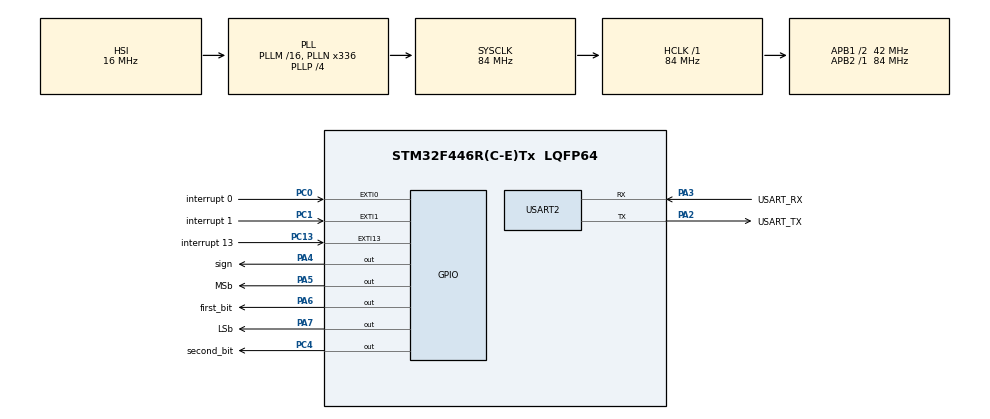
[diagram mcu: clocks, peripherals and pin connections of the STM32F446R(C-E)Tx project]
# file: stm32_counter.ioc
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Mcu.Family=STM32F4
Mcu.Name=STM32F446R(C-E)Tx
Mcu.Package=LQFP64
NVIC.EXTI0_IRQn=true\:0\:0\:false\:false\:true\:true\:true\:true
NVIC.EXTI15_10_IRQn=true\:0\:0\:false\:false\:true\:true\:true\:true
NVIC.EXTI1_IRQn=true\:0\:0\:false\:false\:true\:true\:true\:true
NVIC.PriorityGroup=NVIC_PRIORITYGROUP_0
PA13.GPIO_Label=TMS
PA13.Mode=Serial_Wire
PA13.Signal=SYS_JTMS-SWDIO
PA14.GPIO_Label=TCK
PA14.Mode=Serial_Wire
PA14.Signal=SYS_JTCK-SWCLK
PA2.GPIO_Label=USART_TX
PA2.Mode=Asynchronous
PA2.Signal=USART2_TX
PA3.GPIO_Label=USART_RX
PA3.Mode=Asynchronous
PA3.Signal=USART2_RX
PA4.GPIO_Label=sign
PA4.Signal=GPIO_Output
PA5.GPIO_Label=MSb
PA5.Signal=GPIO_Output
PA6.GPIO_Label=first_bit
PA6.Signal=GPIO_Output
PA7.GPIO_Label=LSb
PA7.Signal=GPIO_Output
PB3.GPIO_Label=SWO
PB3.Signal=SYS_JTDO-SWO
PC0.GPIO_Label=interrupt 0
PC0.Signal=GPXTI0
PC1.GPIO_Label=interrupt 1
PC1.Signal=GPXTI1
PC13.GPIO_Label=interrupt 13
PC13.Signal=GPXTI13
PC14-OSC32_IN.Mode=LSE-External-Oscillator
PC14-OSC32_IN.Signal=RCC_OSC32_IN
PC15-OSC32_OUT.Mode=LSE-External-Oscillator
PC15-OSC32_OUT.Signal=RCC_OSC32_OUT
PC4.GPIO_Label=second_bit
PC4.Signal=GPIO_Output
PH0-OSC_IN.Mode=HSE-External-Oscillator
PH0-OSC_IN.Signal=RCC_OSC_IN
PH1-OSC_OUT.Mode=HSE-External-Oscillator
PH1-OSC_OUT.Signal=RCC_OSC_OUT
ProjectManager.HeapSize=0x200
ProjectManager.StackSize=0x400
ProjectManager.TargetToolchain=STM32CubeIDE
RCC.48MHZClocksFreq_Value=84000000
RCC.AHBFreq_Value=84000000
RCC.APB1CLKDivider=RCC_HCLK_DIV2
RCC.APB1Freq_Value=42000000
RCC.APB1TimFreq_Value=84000000
RCC.APB2Freq_Value=84000000
RCC.APB2TimFreq_Value=84000000
RCC.CortexFreq_Value=84000000
RCC.FLatency-AdvancedSettings=FLASH_LATENCY_2
RCC.HCLKFreq_Value=84000000
RCC.HSE_VALUE=8000000
RCC.HSI_VALUE=16000000
RCC.PLLN=336
RCC.PLLP=RCC_PLLP_DIV4
RCC.SYSCLKFreq_VALUE=84000000
RCC.SYSCLKSource=RCC_SYSCLKSOURCE_PLLCLK
RCC.USBFreq_Value=168000000
RCC.VCOOutputFreq_Value=336000000
USART2.VirtualMode=VM_ASYNC
board=NUCLEO-F446RE

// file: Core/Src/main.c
/* USER CODE BEGIN Header */
/**
  ******************************************************************************
  * @file           : main.c
  * @brief          : Main program body
  ******************************************************************************
  * @attention
  *
  * Copyright (c) 2026 STMicroelectronics.
  * All rights reserved.
  *
  * This software is licensed under terms that can be found in the LICENSE file
  * in the root directory of this software component.
  * If no LICENSE file comes with this software, it is provided AS-IS.
  *
  ******************************************************************************
  */
/* USER CODE END Header */
#include "main.h"
#include "ringbuffer.h"
#include "stdio.h"
#include "string.h"

UART_HandleTypeDef huart2;

/* USER CODE BEGIN PV */
volatile uint8_t button_state = 0;
volatile int8_t step = 1;
volatile int8_t sign;

int8_t LSb, MSb, first_bit, second_bit;
int8_t counter = 0b00000000;

char buffer[20]; //Conversion to ASCII

RingBuffer txBuf;
uint8_t txData;

/* USER CODE END PV */

void SystemClock_Config(void);
static void MX_GPIO_Init(void);
static void MX_USART2_UART_Init(void);

/* USER CODE BEGIN 0 */
void HAL_GPIO_EXTI_Callback(uint16_t GPIO_Pin);
void HAL_UART_RxCpltCallback(UART_HandleTypeDef *UartHandle);
void USART2_IRQHandler(void);

int8_t manageCounting(int8_t dirOfCounting, int8_t number);
int8_t manageLEDS(int8_t number);
int8_t transmitNumbers(int8_t numberToPrint);
int8_t changeDirection(int8_t direction);
uint8_t UART_Transmit(UART_HandleTypeDef *huart, uint8_t *pData, uint16_t len);

/* USER CODE END 0 */

int main(void)
{

  /* USER CODE BEGIN 1 */
  HAL_NVIC_EnableIRQ(USART2_IRQn); // Turns usart interrupts on
  HAL_NVIC_SetPriority(USART2_IRQn, 0, 0); // a good practice is to define the priority of usart even when we only use one instance
  /* USER CODE END 1 */

  /* MCU Configuration--------------------------------------------------------*/

  /* Reset of all peripherals, Initializes the Flash interface and the Systick. */
  HAL_Init();

  /* Configure the system clock */
  SystemClock_Config();

  /* Initialize all configured peripherals */
  MX_GPIO_Init();
  MX_USART2_UART_Init();

  RingBuffer_Init(&txBuf);

  /* Infinite loop */
  /* USER CODE BEGIN WHILE */
  while (1)
  {
	  /* Convert number from decimal to binary representation*/

	  manageLEDS(counter);

	  transmitNumbers(counter);

	  counter = manageCounting(step, counter);

    /* USER CODE END WHILE */

  }
}

void SystemClock_Config(void)
{
  RCC_OscInitTypeDef RCC_OscInitStruct = {0};
  RCC_ClkInitTypeDef RCC_ClkInitStruct = {0};

  /** Configure the main internal regulator output voltage
  */
  __HAL_RCC_PWR_CLK_ENABLE();
  __HAL_PWR_VOLTAGESCALING_CONFIG(PWR_REGULATOR_VOLTAGE_SCALE3);

  /** Initializes the RCC Oscillators according to the specified parameters
  * in the RCC_OscInitTypeDef structure.
  */
  RCC_OscInitStruct.OscillatorType = RCC_OSCILLATORTYPE_HSI;
  RCC_OscInitStruct.HSIState = RCC_HSI_ON;
  RCC_OscInitStruct.HSICalibrationValue = RCC_HSICALIBRATION_DEFAULT;
  RCC_OscInitStruct.PLL.PLLState = RCC_PLL_ON;
  RCC_OscInitStruct.PLL.PLLSource = RCC_PLLSOURCE_HSI;
  RCC_OscInitStruct.PLL.PLLM = 16;
  RCC_OscInitStruct.PLL.PLLN = 336;
  RCC_OscInitStruct.PLL.PLLP = RCC_PLLP_DIV4;
  RCC_OscInitStruct.PLL.PLLQ = 2;
  RCC_OscInitStruct.PLL.PLLR = 2;
  if (HAL_RCC_OscConfig(&RCC_OscInitStruct) != HAL_OK)
  {
    Error_Handler();
  }

  /** Initializes the CPU, AHB and APB buses clocks
  */
  RCC_ClkInitStruct.ClockType = RCC_CLOCKTYPE_HCLK|RCC_CLOCKTYPE_SYSCLK
                              |RCC_CLOCKTYPE_PCLK1|RCC_CLOCKTYPE_PCLK2;
  RCC_ClkInitStruct.SYSCLKSource = RCC_SYSCLKSOURCE_PLLCLK;
  RCC_ClkInitStruct.AHBCLKDivider = RCC_SYSCLK_DIV1;
  RCC_ClkInitStruct.APB1CLKDivider = RCC_HCLK_DIV2;
  RCC_ClkInitStruct.APB2CLKDivider = RCC_HCLK_DIV1;

  if (HAL_RCC_ClockConfig(&RCC_ClkInitStruct, FLASH_LATENCY_2) != HAL_OK)
  {
    Error_Handler();
  }
}

static void MX_USART2_UART_Init(void)
{

  huart2.Instance = USART2;
  huart2.Init.BaudRate = 115200;
  huart2.Init.WordLength = UART_WORDLENGTH_8B;
  huart2.Init.StopBits = UART_STOPBITS_1;
  huart2.Init.Parity = UART_PARITY_NONE;
  huart2.Init.Mode = UART_MODE_TX_RX;
  huart2.Init.HwFlowCtl = UART_HWCONTROL_NONE;
  huart2.Init.OverSampling = UART_OVERSAMPLING_16;
  if (HAL_UART_Init(&huart2) != HAL_OK)
  {
    Error_Handler();
  }

}

static void MX_GPIO_Init(void)
{
  GPIO_InitTypeDef GPIO_InitStruct = {0};

  /* GPIO Ports Clock Enable */
  __HAL_RCC_GPIOC_CLK_ENABLE();
  __HAL_RCC_GPIOH_CLK_ENABLE();
  __HAL_RCC_GPIOA_CLK_ENABLE();
  __HAL_RCC_GPIOB_CLK_ENABLE();

  /*Configure GPIO pin Output Level */
  HAL_GPIO_WritePin(GPIOA, sign_Pin|MSb_Pin|first_bit_Pin|LSb_Pin, GPIO_PIN_RESET);

  /*Configure GPIO pin Output Level */
  HAL_GPIO_WritePin(second_bit_GPIO_Port, second_bit_Pin, GPIO_PIN_RESET);

  /*Configure GPIO pins : interrupt_13_Pin interrupt_0_Pin interrupt_1_Pin */
  GPIO_InitStruct.Pin = interrupt_13_Pin|interrupt_0_Pin|interrupt_1_Pin;
  GPIO_InitStruct.Mode = GPIO_MODE_IT_RISING;
  GPIO_InitStruct.Pull = GPIO_NOPULL;
  HAL_GPIO_Init(GPIOC, &GPIO_InitStruct);

  /*Configure GPIO pins : sign_Pin MSb_Pin first_bit_Pin LSb_Pin */
  GPIO_InitStruct.Pin = sign_Pin|MSb_Pin|first_bit_Pin|LSb_Pin;
  GPIO_InitStruct.Mode = GPIO_MODE_OUTPUT_PP;
  GPIO_InitStruct.Pull = GPIO_NOPULL;
  GPIO_InitStruct.Speed = GPIO_SPEED_FREQ_LOW;
  HAL_GPIO_Init(GPIOA, &GPIO_InitStruct);

  /*Configure GPIO pin : second_bit_Pin */
  GPIO_InitStruct.Pin = second_bit_Pin;
  GPIO_InitStruct.Mode = GPIO_MODE_OUTPUT_PP;
  GPIO_InitStruct.Pull = GPIO_NOPULL;
  GPIO_InitStruct.Speed = GPIO_SPEED_FREQ_LOW;
  HAL_GPIO_Init(second_bit_GPIO_Port, &GPIO_InitStruct);

  /* EXTI interrupt init*/
  HAL_NVIC_SetPriority(EXTI0_IRQn, 0, 0);
  HAL_NVIC_EnableIRQ(EXTI0_IRQn);

  HAL_NVIC_SetPriority(EXTI1_IRQn, 0, 0);
  HAL_NVIC_EnableIRQ(EXTI1_IRQn);

  HAL_NVIC_SetPriority(EXTI15_10_IRQn, 0, 0);
  HAL_NVIC_EnableIRQ(EXTI15_10_IRQn);

}

/* USER CODE BEGIN 4 */

void HAL_GPIO_EXTI_Callback(uint16_t GPIO_Pin){
		if (GPIO_Pin == interrupt_13_Pin){
			step = (-1) * step;
		}
	}

void USART2_IRQHandler(void){
	HAL_UART_IRQHandler(&huart2);
}

void HAL_UART_TxCpltCallback(UART_HandleTypeDef *huart) {
  if(RingBuffer_GetDataLength(&txBuf) > 0) {
    RingBuffer_Read(&txBuf, &txData, 1);
    HAL_UART_Transmit_IT(huart, &txData, 1);
  }
}

int8_t manageCounting(int8_t dirOfCounting, int8_t number){

	number = number + dirOfCounting;

	if (number > 7) number = -8;
	else if(number < -8) number = 7;

	return number;
}

int8_t manageLEDS(int8_t number){

	LSb = number & 1;
    first_bit = (number >> 1) & 1;
	second_bit = (number >> 2) & 1;
	MSb = (number >> 3) & 1;
	sign = (number >> 7) & 1;

	HAL_GPIO_WritePin(GPIOA, LSb_Pin, LSb);
	HAL_GPIO_WritePin(GPIOA, first_bit_Pin, first_bit);
	HAL_GPIO_WritePin(GPIOC, second_bit_Pin, second_bit);
	HAL_GPIO_WritePin(GPIOA, MSb_Pin, MSb);
	HAL_GPIO_WritePin(GPIOA, sign_Pin, sign);
	HAL_Delay(150);

	return 0;
}

int8_t transmitNumbers(int8_t numberToPrint){
	sprintf(buffer, "%d\r\n", numberToPrint);
	UART_Transmit(&huart2, (uint8_t*)buffer, strlen(buffer));
	return 0;
}

uint8_t UART_Transmit(UART_HandleTypeDef *huart, uint8_t *pData, uint16_t len) {
  if(HAL_UART_Transmit_IT(huart, pData, len) != HAL_OK) {
    if(RingBuffer_Write(&txBuf, pData, len) != RING_BUFFER_OK)
      return 0;
  }
  return 1;
}

/* USER CODE END 4 */

void Error_Handler(void)
{
  __disable_irq();
  while (1)
  {
  }
}
